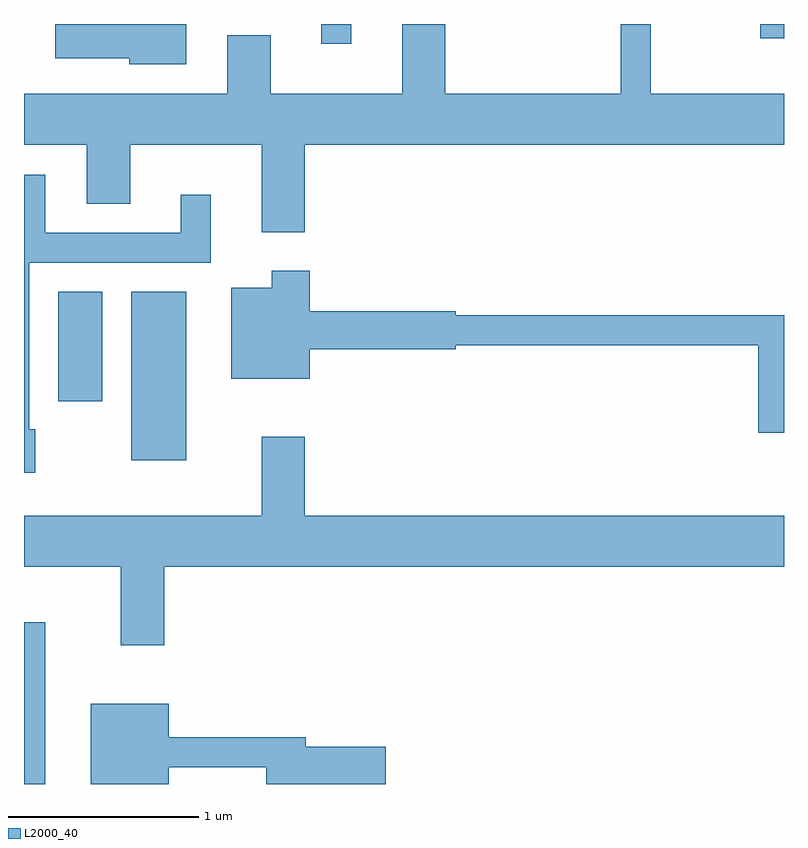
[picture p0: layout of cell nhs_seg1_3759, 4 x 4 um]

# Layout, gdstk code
import gdstk
lib = gdstk.Library(unit=1e-6, precision=1e-09)
def R(c, l, rs):  # rectangles x0, y0, x1, y1
    for r in rs: c.add(gdstk.rectangle(r[:2], r[2:], *l))
def P(c, l, *ps):  # polygons
    for p in ps: c.add(gdstk.Polygon(p, *l))
L2000_40 = (2000, 40)

nhs_seg1_3759 = lib.new_cell('nhs_seg1_3759')
R(nhs_seg1_3759, L2000_40, [(297.611,951.712,297.724,952.564), (298.176,953.416,298.464,954.304), (297.791,953.726,298.024,954.304), (299.176,955.608,299.334,955.712), (301.486,955.636,301.611,955.712)])
P(nhs_seg1_3759, L2000_40, [(299.089,955.076),(301.611,955.076),(301.611,955.344),(300.909,955.344),(300.909,955.712),(300.751,955.712),(300.751,955.344),(299.829,955.344),(299.829,955.712),(299.601,955.712),(299.601,955.344),(298.909,955.344),(298.909,955.654),(298.681,955.654),(298.681,955.344),(297.611,955.344),(297.611,955.076),(297.941,955.076),(297.941,954.766),(298.169,954.766),(298.169,955.076),(298.861,955.076),(298.861,954.616),(299.089,954.616)],
  [(298.464,955.712),(297.776,955.712),(297.776,955.531),(298.166,955.531),(298.166,955.501),(298.464,955.501)],
  [(297.669,953.579),(297.639,953.579),(297.639,954.456),(298.594,954.456),(298.594,954.813),(298.436,954.813),(298.436,954.614),(297.724,954.614),(297.724,954.919),(297.611,954.919),(297.611,953.351),(297.669,953.351)],
  [(301.611,954.179),(299.884,954.179),(299.884,954.199),(299.114,954.199),(299.114,954.414),(298.916,954.414),(298.916,954.324),(298.701,954.324),(298.701,953.846),(299.114,953.846),(299.114,954.001),(299.884,954.001),(299.884,954.021),(301.476,954.021),(301.476,953.561),(301.611,953.561)],
  [(298.349,952.856),(301.611,952.856),(301.611,953.124),(299.089,953.124),(299.089,953.539),(298.861,953.539),(298.861,953.124),(297.611,953.124),(297.611,952.856),(298.121,952.856),(298.121,952.441),(298.349,952.441)],
  [(298.374,951.801),(298.886,951.801),(298.886,951.712),(299.514,951.712),(299.514,951.909),(299.094,951.909),(299.094,951.959),(298.374,951.959),(298.374,952.134),(297.961,952.134),(297.961,951.712),(298.374,951.712)])

lib.write_gds('nhs_seg1_3759.gds')
